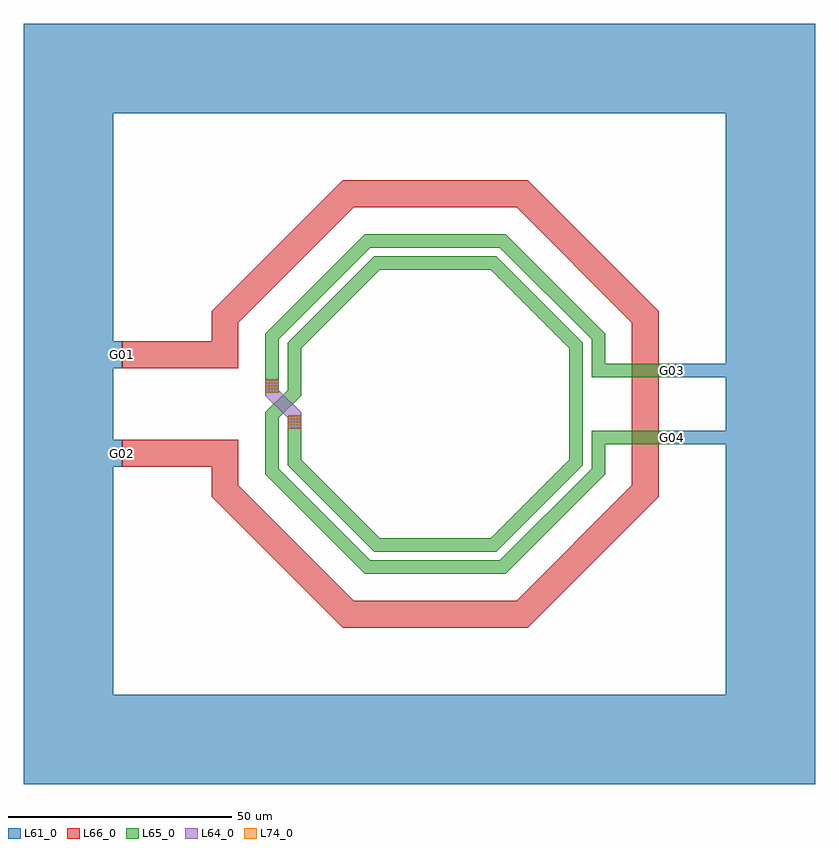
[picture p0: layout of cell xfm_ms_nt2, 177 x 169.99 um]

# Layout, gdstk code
import gdstk
lib = gdstk.Library(unit=1e-6, precision=1e-09)
def R(c, l, rs):  # rectangles x0, y0, x1, y1
    for r in rs: c.add(gdstk.rectangle(r[:2], r[2:], *l))
def A(c, l, x, y, w, h, nx, ny, dx, dy):  # array of equal rectangles
    R(c, l, [(x+i*dx, y+j*dy, x+i*dx+w, y+j*dy+h) for i in range(nx) for j in range(ny)])
def P(c, l, *ps):  # polygons
    for p in ps: c.add(gdstk.Polygon(p, *l))
L61_0 = (61, 0)
L64_0 = (64, 0)
L65_0 = (65, 0)
L66_0 = (66, 0)
L74_0 = (74, 0)

xfm_ms_nt2 = lib.new_cell('xfm_ms_nt2')
R(xfm_ms_nt2, L61_0, [(-92,-84.995,-72,84.995), (-72,-84.995,65,-64.995), (65,-84.995,85,84.995), (-72,-14,-70,-8), (53,-9,65,-6), (53,6,65,9), (-72,8,-70,14), (-72,64.995,65,84.995)])
R(xfm_ms_nt2, L64_0, [(-33,-5.5,-30,-2.5), (-38,2.5,-35,5.5)])
P(xfm_ms_nt2, L64_0, [(-33,-4),(-33,-3.12),(-38,1.88),(-38,4),(-35,4),(-35,3.12),(-30,-1.88),(-30,-4)])
R(xfm_ms_nt2, L65_0, [(35,-9,53,-6), (-38,-5.5,-35,-2.5), (-33,-5.5,-30,-2.5), (-38,2.5,-35,5.5), (-33,2.5,-30,5.5), (35,6,53,9)])
P(xfm_ms_nt2, L65_0, [(-38,-4),(-38,-1.88),(-33,3.12),(-33,4),(-30,4),(-30,1.88),(-35,-3.12),(-35,-4)],
  [(-38,2.5),(-38,15.735),(-15.74,37.995),(0,37.995),(0,34.995),(-14.49,34.995),(-35,14.485),(-35,2.5)],
  [(35,6),(35,14.485),(14.49,34.995),(0,34.995),(0,37.995),(15.74,37.995),(38,15.735),(38,6)],
  [(-15.74,-37.995),(-38,-15.735),(-38,-2.5),(-35,-2.5),(-35,-14.485),(-14.49,-34.995),(0,-34.995),(0,-37.995)],
  [(0,-37.995),(0,-34.995),(14.49,-34.995),(35,-14.485),(35,-6),(38,-6),(38,-15.735),(15.74,-37.995)],
  [(-33,2.5),(-33,13.665),(-13.67,32.995),(0,32.995),(0,29.995),(-12.42,29.995),(-30,12.415),(-30,2.5)],
  [(30,0),(30,12.415),(12.42,29.995),(0,29.995),(0,32.995),(13.67,32.995),(33,13.665),(33,0)],
  [(-13.67,-32.995),(-33,-13.665),(-33,-2.5),(-30,-2.5),(-30,-12.415),(-12.42,-29.995),(0,-29.995),(0,-32.995)],
  [(0,-32.995),(0,-29.995),(12.42,-29.995),(30,-12.415),(30,0),(33,0),(33,-13.665),(13.67,-32.995)])
R(xfm_ms_nt2, L66_0, [(-70,-14,-44,-8), (-70,8,-44,14)])
P(xfm_ms_nt2, L66_0, [(-50,8),(-50,20.705),(-20.71,49.995),(0,49.995),(0,43.995),(-18.215,43.995),(-44,18.21),(-44,8)],
  [(44,0),(44,18.21),(18.215,43.995),(0,43.995),(0,49.995),(20.71,49.995),(50,20.705),(50,0)],
  [(-20.71,-49.995),(-50,-20.705),(-50,-8),(-44,-8),(-44,-18.21),(-18.215,-43.995),(0,-43.995),(0,-49.995)],
  [(0,-49.995),(0,-43.995),(18.215,-43.995),(44,-18.21),(44,0),(50,0),(50,-20.705),(20.71,-49.995)])
A(xfm_ms_nt2, L74_0, -32.95, -5.45, 0.3, 0.3, 5, 5, 0.65, 0.65)
A(xfm_ms_nt2, L74_0, -37.95, 2.55, 0.3, 0.3, 5, 5, 0.65, 0.65)
xfm_ms_nt2.add(gdstk.Label('G01', (-70,11), layer=61, texttype=2))
xfm_ms_nt2.add(gdstk.Label('G02', (-70,-11), layer=61, texttype=2))
xfm_ms_nt2.add(gdstk.Label('G03', (53,7.5), layer=61, texttype=2))
xfm_ms_nt2.add(gdstk.Label('G04', (53,-7.5), layer=61, texttype=2))
xfm_ms_nt2.add(gdstk.Label('P1', (-70,11), layer=66, texttype=2))
xfm_ms_nt2.add(gdstk.Label('N1', (-70,-11), layer=66, texttype=2))
xfm_ms_nt2.add(gdstk.Label('P2', (53,7.5), layer=65, texttype=2))
xfm_ms_nt2.add(gdstk.Label('N2', (53,-7.5), layer=65, texttype=2))

lib.write_gds('xfm_ms_nt2.gds')
